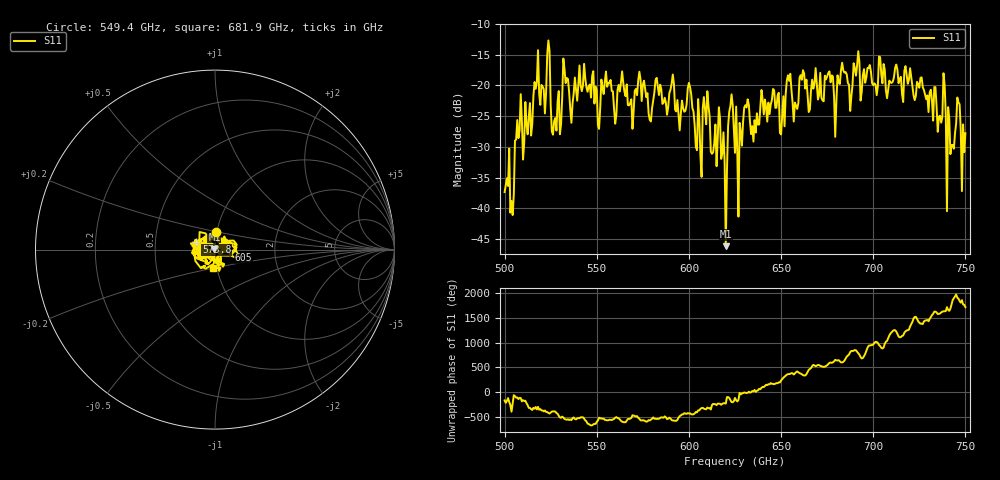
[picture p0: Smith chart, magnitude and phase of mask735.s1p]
!Created with skrf (http://scikit-rf.org).
# GHz S MA R 50.0
!freq magS11 angS11
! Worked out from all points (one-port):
!   401 points, 500 GHz to 750 GHz, reference 50 ohm
!   lowest |S11| = -46.2 dB at 620 GHz (marker M1), VSWR 1.01, Z = 49.7 + j0.356 ohm
!   |S11| at or under -10 dB: start of sweep to end of sweep
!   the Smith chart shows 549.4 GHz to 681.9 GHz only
!   S11 on the Smith chart (normalised r, x): 549.4 GHz: 1.00, +0.20; 573.8 GHz: 0.81, +0.07; 605 GHz: 1.17, -0.01; 681.9 GHz: 0.96, -0.20
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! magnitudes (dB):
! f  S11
! 500 GHz  -37.4
! 504.4 GHz  -41.1
! 507.5 GHz  -28.6
! 513.8 GHz  -22.9
! 516.9 GHz  -20.6
! 523.8 GHz  -12.7
! 526.9 GHz  -25.8
! 531.2 GHz  -22.0
! 549.4 GHz  -20.2
! 562.5 GHz  -21.0
! 573.8 GHz  -19.0
! 593.8 GHz  -22.4
! 600.6 GHz  -20.3
! 605 GHz  -22.2
! 609.4 GHz  -26.3
! 620 GHz  -46.2
! 622.5 GHz  -23.4
! 625 GHz  -31.0
! 627.5 GHz  -26.1
! 631.2 GHz  -23.6
! 656.2 GHz  -22.8
! 681.9 GHz  -19.8
! 687.5 GHz  -24.1
! 718.8 GHz  -19.7
! 738.1 GHz  -18.0
! 741.2 GHz  -25.4
! 745.6 GHz  -22.0
! 750 GHz  -27.8
